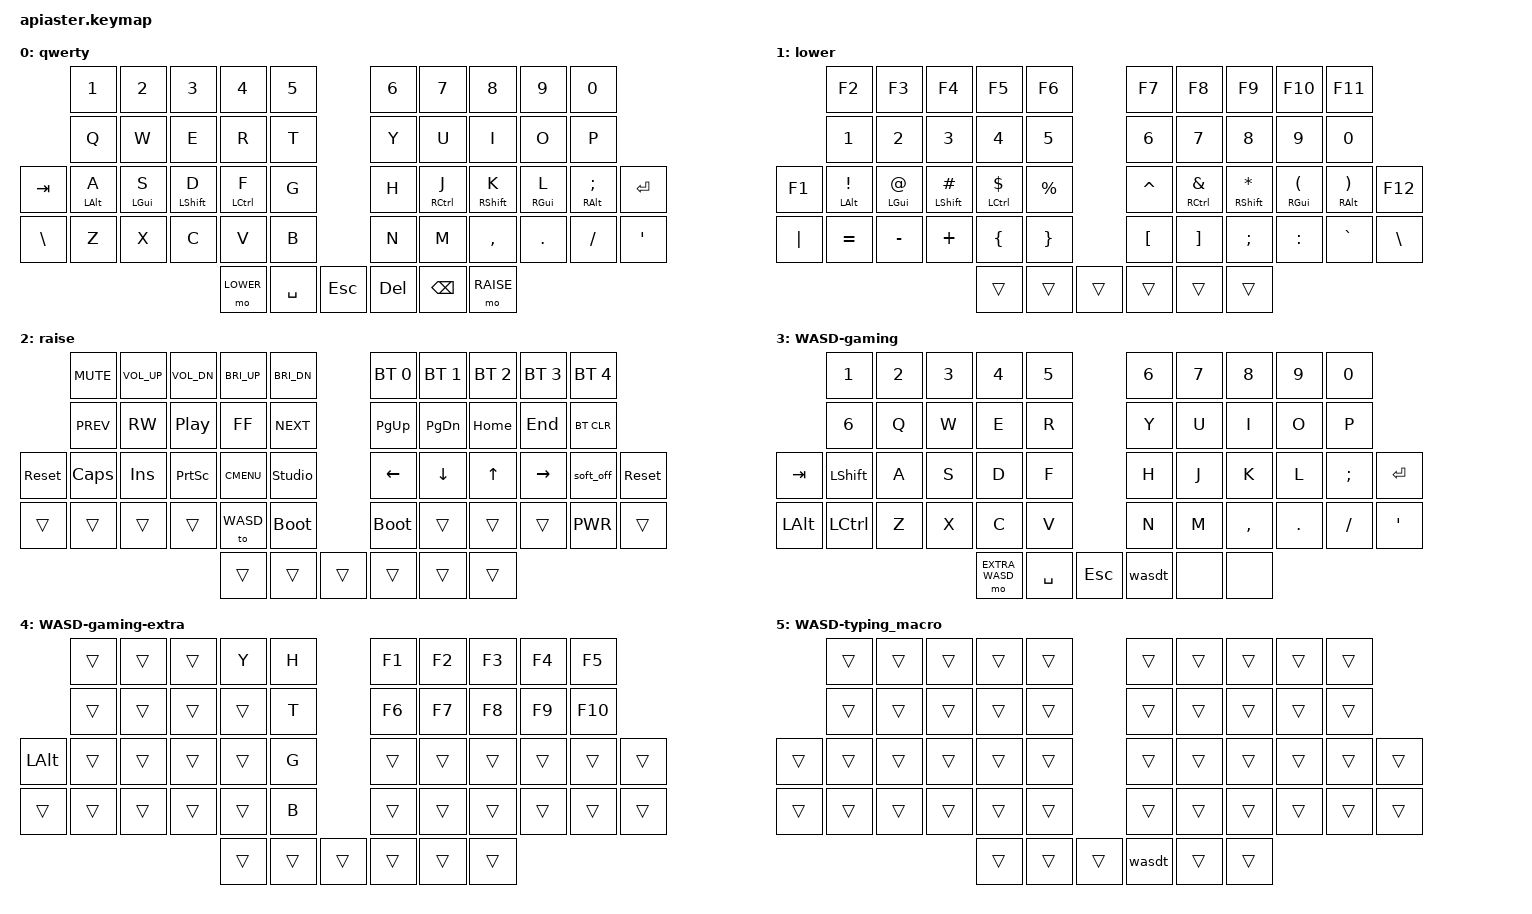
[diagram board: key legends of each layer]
#include <behaviors.dtsi>
#include <dt-bindings/zmk/keys.h>
#include <dt-bindings/zmk/bt.h>

#define BASE 0
#define LOWER 1
#define RAISE 2
#define WASD 3
#define EXTRA_WASD 4
#define WASD_TYPE 5

#define KEYS_L 0 1 2 3 4 10 11 12 13 14 20 21 22 23 24 25 32 33 34 35 36 37
#define KEYS_R 5 6 7 8 9 15 16 17 18 19 26 27 28 29 30 31 38 39 40 41 42 43
#define THUMBS_L 44 45 46
#define THUMBS_R 47 48 49

/ {
    macros {
        wasdt: wasd_type {
            compatible = "zmk,behavior-macro";
            #binding-cells = <0>;
            bindings
                = <&macro_tap &tog WASD &tog WASD_TYPE>;
        };
    };

    behaviors {
        hl: home_row_hold_tap_left {
            compatible = "zmk,behavior-hold-tap";
            #binding-cells = <2>;
            flavor = "balanced";
            tapping-term-ms = <280>;
            quick-tap-ms = <175>;                // repeat on tap-into-hold
            require-prior-idle-ms = <150>;
            bindings = <&kp>, <&kp>;
            hold-trigger-key-positions = <KEYS_R THUMBS_R>;
            hold-trigger-on-release;             // delay positional check until key-release
        };

        hr: home_row_hold_tap_right {
            compatible = "zmk,behavior-hold-tap";
            #binding-cells = <2>;
            flavor = "balanced";
            tapping-term-ms = <280>;
            quick-tap-ms = <175>;                // repeat on tap-into-hold
            require-prior-idle-ms = <150>;
            bindings = <&kp>, <&kp>;
            hold-trigger-key-positions = <KEYS_L THUMBS_L>;
            hold-trigger-on-release;             // delay positional check until key-release
        };

        td_rst: reset_tap_dance {
            compatible = "zmk,behavior-tap-dance";
            #binding-cells = <0>;
            tapping-term-ms = <200>;
            bindings = <&sys_reset>, <&bootloader>;
        };
    };

    keymap {
        compatible = "zmk,keymap";

        qwerty_layer {
            display-name = "qwerty";
// ------------------------------------------------------------------------------------------------------------
//         |   1   |   2   |    3    |   4    |   5   |              |  6  |   7    |    8    |   9   |   0   |
//         |   Q   |   W   |    E    |   R    |   T   |              |  Y  |   U    |    I    |   O   |   P   |
// |  TAB  | ALT/A | GUI/S | SHIFT/D | CTRL/F |   G   |              |  H  | CTRL/J | SHIFT/K | GUI/L | ALT/; | ENTER |
// |   \   |   Z   |   X   |    C    |   V    |   B   |              |  N  |   M    |    ,    |   .   |   /   |   '   |
//                                   | LOWER  | SPACE | ESC |  | DEL |BACK | RAISE  |
            bindings = <
          &kp N1     &kp N2     &kp N3      &kp N4      &kp N5                      &kp N6    &kp N7      &kp N8      &kp N9     &kp N0
          &kp Q      &kp W      &kp E       &kp R       &kp T                       &kp Y     &kp U       &kp I       &kp O      &kp P
&kp TAB   &hl LALT A &hl LGUI S &hl LSHFT D &hl LCTRL F &kp G                       &kp H     &hr RCTRL J &hr RSHFT K &hr RGUI L &hr RALT SEMI &kp ENTER
&kp BSLH &kp Z      &kp X      &kp C       &kp V       &kp B                       &kp N     &kp M       &kp COMMA   &kp DOT    &kp FSLH      &kp SQT
                                            &mo LOWER   &kp SPACE &kp ESC &kp DEL &kp BSPC &mo RAISE
            >;
        };

        lower_layer {
            display-name = "lower";
// ------------------------------------------------------------------------------------------------------------
// |       |  F1 |  F2 |  F3  |  F4  |  F5  |                   |  F6  |  F7   |  F8   |  F9  |  F10  |       |
// |       |  1  |  2  |  3   |  4   |  5   |                   |  6   |  7    |  8    |  9   |   0   |       |
// |   `   |  !  |  @  |  #   |  $   |  %   |                   |  ^   |  &    |  *    |  (   |   )   |  F11  |
// |   |   |  =  |  -  |  +   |  {   |  }   |                   |  [   |  ]    |  ;    |  :   |   \   |  F12  |
//               |     |      |      |      |        |  |       |      |       |       |      |
            bindings = <
         &kp F2        &kp F3      &kp F4         &kp F5         &kp F6                  &kp F7    &kp F8         &kp F9          &kp F10       &kp F11
         &kp N1        &kp N2      &kp N3         &kp N4         &kp N5                  &kp N6    &kp N7         &kp N8          &kp N9        &kp N0
&kp F1   &hl LALT EXCL &hl LGUI AT &hl LSHFT HASH &hl LCTRL DLLR &kp PRCNT               &kp CARET &hr RCTRL AMPS &hr RSHFT ASTRK &hr RGUI LPAR &hr RALT RPAR &kp F12
&kp PIPE &kp EQUAL     &kp MINUS   &kp PLUS       &kp LBRC       &kp RBRC                &kp LBKT  &kp RBKT       &kp SEMI        &kp COLON     &kp GRAVE     &kp BSLH
                                                   &trans         &trans    &trans &trans &trans    &trans
            >;
        };

        raise_layer {
            display-name = "raise";
// ------------------------------------------------------------------------------------------------------------
//         | MUTE | VOL-   |  VOL+   | BRI-        |  BRI+  |                |  BT 0 | BT 1 |  BT 2   | BT 3 | BT 4     |
//         | PREV | REWIND | PAUSE   | FASTFORWARD |  NEXT  |                | PGUP  | PGDN |  HOME   | END  | BT CLEAR |
// | reset | CAPS | INS    | PRNTSCR | MENU        | studio |                | <-    |   v  |   ^     |  ->  |  off     | reset |
// |       |      |        |         | WASD        |  boot  |                | boot  |      |         |      |  POWER   | reset |
//                                   |             |        |      |  |      |       |      |
            bindings = <
          &kp C_MUTE &kp C_VOL_DN &kp C_VOL_UP &kp C_BRI_DN &kp  C_BRI_UP                &bt BT_SEL 0 &bt BT_SEL 1 &bt BT_SEL 2 &bt BT_SEL 3 &bt BT_SEL 4
          &kp C_PREV &kp C_RW     &kp C_PP     &kp C_FF     &kp C_NEXT                   &kp PG_UP    &kp PG_DN     &kp HOME       &kp END      &bt BT_CLR
&sys_reset &kp CLCK   &kp INS      &kp PSCRN    &kp K_CMENU  &studio_unlock               &kp LEFT    &kp DOWN     &kp UP     &kp RIGHT    &soft_off   &sys_reset
&trans    &trans     &trans       &trans  &to WASD     &bootloader                  &bootloader  &trans       &trans       &trans       &kp C_PWR   &trans
                                               &trans       &trans         &trans &trans &trans       &trans
            >;
        };


        wasd_layer {
            display-name = "WASD-gaming";
            bindings = <
          &kp N1     &kp N2   &kp N3   &kp N4   &kp N5                             &kp N6    &kp N7      &kp N8      &kp N9     &kp N0
          &kp N6     &kp Q    &kp W    &kp E    &kp R                              &kp Y     &kp U       &kp I       &kp O      &kp P
&kp TAB   &kp LSHFT  &kp A    &kp S    &kp D    &kp F                              &kp H     &kp J       &kp K       &kp L      &kp SEMI &kp ENTER
&kp LALT     &kp LCTRL  &kp Z    &kp X    &kp C    &kp V                              &kp N     &kp M       &kp COMMA   &kp DOT    &kp FSLH      &kp SQT
                                       &mo EXTRA_WASD &kp SPACE &kp ESC   &wasdt  &none  &none
            >;
        };

        extra_wasd_layer {
            display-name = "WASD-gaming-extra";
// ---------------------------------------------------
//         |      |       |     |   Y  |  H   |                |  F1   |  F2   |  F3   |  F4  |   F5     |
//         |      |       |     |      |  T   |                |  F6   |  F7   |  F8   |  F9  |   F10    |
// |  ALT  |      |       |     |      |  G   |                | <-    |   v   |   ^   |  ->  |   off    | reset |
// |       |      |       |     |      |  B   |                | boot  |       |       |      |   POWER  | reset |
//                              |      |      |      |  |      |       |       |       |
            bindings = <
          &trans     &trans   &trans   &kp Y    &kp H                  &kp F1    &kp F2  &kp F3  &kp F4  &kp F5
          &trans     &trans   &trans   &trans   &kp T                  &kp F6    &kp F7  &kp F8  &kp F9  &kp F10
&kp LALT  &trans     &trans   &trans   &trans   &kp G                  &trans    &trans  &trans  &trans  &trans   &trans
&trans    &trans     &trans   &trans   &trans   &kp B                  &trans    &trans  &trans  &trans  &trans   &trans
                                       &trans   &trans  &trans  &trans &trans    &trans
            >;
        };
        wasd_type_layer {
            display-name = "WASD-typing_macro";
// ---------------------------------------------------
//         |      |       |     |   Y  |  H   |
//         |      |       |     |      |  T   |
// |  ALT  |      |       |     |      |  G   |
// |       |      |       |     |      |  B   |
//                              |      |      |        |
            bindings = <
          &trans     &trans   &trans   &trans   &trans                 &trans    &trans  &trans  &trans  &trans
          &trans     &trans   &trans   &trans   &trans                 &trans    &trans  &trans  &trans  &trans
&trans    &trans     &trans   &trans   &trans   &trans                 &trans    &trans  &trans  &trans  &trans   &trans
&trans    &trans     &trans   &trans   &trans   &trans                 &trans    &trans  &trans  &trans  &trans   &trans
                                       &trans   &trans  &trans  &wasdt &trans    &trans
            >;
        };

        extra1 {
            status = "reserved";
        };

        extra2 {
            status = "reserved";
        };

        extra3 {
            status = "reserved";
        };

        extra4 {
            status = "reserved";
        };

        extra5 {
            status = "reserved";
        };
    };
};
#include <behaviors.dtsi>
#include <dt-bindings/zmk/keys.h>
#include <dt-bindings/zmk/bt.h>

#define BASE 0
#define LOWER 1
#define RAISE 2
#define WASD 3
#define EXTRA_WASD 4
#define WASD_TYPE 5

#define KEYS_L 0 1 2 3 4 10 11 12 13 14 20 21 22 23 24 25 32 33 34 35 36 37
#define KEYS_R 5 6 7 8 9 15 16 17 18 19 26 27 28 29 30 31 38 39 40 41 42 43
#define THUMBS_L 44 45 46
#define THUMBS_R 47 48 49

/ {
    macros {
        wasdt: wasd_type {
            compatible = "zmk,behavior-macro";
            #binding-cells = <0>;
            bindings
                = <&macro_tap &tog WASD &tog WASD_TYPE>;
        };
    };

    behaviors {
        hl: home_row_hold_tap_left {
            compatible = "zmk,behavior-hold-tap";
            #binding-cells = <2>;
            flavor = "balanced";
            tapping-term-ms = <280>;
            quick-tap-ms = <175>;                // repeat on tap-into-hold
            require-prior-idle-ms = <150>;
            bindings = <&kp>, <&kp>;
            hold-trigger-key-positions = <KEYS_R THUMBS_R>;
            hold-trigger-on-release;             // delay positional check until key-release
        };

        hr: home_row_hold_tap_right {
            compatible = "zmk,behavior-hold-tap";
            #binding-cells = <2>;
            flavor = "balanced";
            tapping-term-ms = <280>;
            quick-tap-ms = <175>;                // repeat on tap-into-hold
            require-prior-idle-ms = <150>;
            bindings = <&kp>, <&kp>;
            hold-trigger-key-positions = <KEYS_L THUMBS_L>;
            hold-trigger-on-release;             // delay positional check until key-release
        };

        td_rst: reset_tap_dance {
            compatible = "zmk,behavior-tap-dance";
            #binding-cells = <0>;
            tapping-term-ms = <200>;
            bindings = <&sys_reset>, <&bootloader>;
        };
    };

    keymap {
        compatible = "zmk,keymap";

        qwerty_layer {
            display-name = "qwerty";
// ------------------------------------------------------------------------------------------------------------
//         |   1   |   2   |    3    |   4    |   5   |              |  6  |   7    |    8    |   9   |   0   |
//         |   Q   |   W   |    E    |   R    |   T   |              |  Y  |   U    |    I    |   O   |   P   |
// |  TAB  | ALT/A | GUI/S | SHIFT/D | CTRL/F |   G   |              |  H  | CTRL/J | SHIFT/K | GUI/L | ALT/; | ENTER |
// |   \   |   Z   |   X   |    C    |   V    |   B   |              |  N  |   M    |    ,    |   .   |   /   |   '   |
//                                   | LOWER  | SPACE | ESC |  | DEL |BACK | RAISE  |
            bindings = <
          &kp N1     &kp N2     &kp N3      &kp N4      &kp N5                      &kp N6    &kp N7      &kp N8      &kp N9     &kp N0
          &kp Q      &kp W      &kp E       &kp R       &kp T                       &kp Y     &kp U       &kp I       &kp O      &kp P
&kp TAB   &hl LALT A &hl LGUI S &hl LSHFT D &hl LCTRL F &kp G                       &kp H     &hr RCTRL J &hr RSHFT K &hr RGUI L &hr RALT SEMI &kp ENTER
&kp BSLH &kp Z      &kp X      &kp C       &kp V       &kp B                       &kp N     &kp M       &kp COMMA   &kp DOT    &kp FSLH      &kp SQT
                                            &mo LOWER   &kp SPACE &kp ESC &kp DEL &kp BSPC &mo RAISE
            >;
        };

        lower_layer {
            display-name = "lower";
// ------------------------------------------------------------------------------------------------------------
// |       |  F1 |  F2 |  F3  |  F4  |  F5  |                   |  F6  |  F7   |  F8   |  F9  |  F10  |       |
// |       |  1  |  2  |  3   |  4   |  5   |                   |  6   |  7    |  8    |  9   |   0   |       |
// |   `   |  !  |  @  |  #   |  $   |  %   |                   |  ^   |  &    |  *    |  (   |   )   |  F11  |
// |   |   |  =  |  -  |  +   |  {   |  }   |                   |  [   |  ]    |  ;    |  :   |   \   |  F12  |
//               |     |      |      |      |        |  |       |      |       |       |      |
            bindings = <
         &kp F2        &kp F3      &kp F4         &kp F5         &kp F6                  &kp F7    &kp F8         &kp F9          &kp F10       &kp F11
         &kp N1        &kp N2      &kp N3         &kp N4         &kp N5                  &kp N6    &kp N7         &kp N8          &kp N9        &kp N0
&kp F1   &hl LALT EXCL &hl LGUI AT &hl LSHFT HASH &hl LCTRL DLLR &kp PRCNT               &kp CARET &hr RCTRL AMPS &hr RSHFT ASTRK &hr RGUI LPAR &hr RALT RPAR &kp F12
&kp PIPE &kp EQUAL     &kp MINUS   &kp PLUS       &kp LBRC       &kp RBRC                &kp LBKT  &kp RBKT       &kp SEMI        &kp COLON     &kp GRAVE     &kp BSLH
                                                   &trans         &trans    &trans &trans &trans    &trans
            >;
        };

        raise_layer {
            display-name = "raise";
// ------------------------------------------------------------------------------------------------------------
//         | MUTE | VOL+   |  VOL-   | BRI+        |  BRI-  |                |  BT 0 | BT 1 |  BT 2   | BT 3 | BT 4     |
//         | PREV | REWIND | PAUSE   | FASTFORWARD |  NEXT  |                | PGUP  | PGDN |  HOME   | END  | BT CLEAR |
// | reset | CAPS | INS    | PRNTSCR | MENU        | studio |                | <-    |   v  |   ^     |  ->  |  off     | reset |
// |       |      |        |         | WASD        |  boot  |                | boot  |      |         |      |  POWER   | reset |
//                                   |             |        |      |  |      |       |      |
            bindings = <
          &kp C_MUTE &kp C_VOL_UP &kp C_VOL_DN &kp C_BRI_UP &kp  C_BRI_DN                &bt BT_SEL 0 &bt BT_SEL 1 &bt BT_SEL 2 &bt BT_SEL 3 &bt BT_SEL 4
          &kp C_PREV &kp C_RW     &kp C_PP     &kp C_FF     &kp C_NEXT                   &kp PG_UP    &kp PG_DN     &kp HOME       &kp END      &bt BT_CLR
&sys_reset &kp CLCK   &kp INS      &kp PSCRN    &kp K_CMENU  &studio_unlock               &kp LEFT    &kp DOWN     &kp UP     &kp RIGHT    &soft_off   &sys_reset
&trans    &trans     &trans       &trans  &to WASD     &bootloader                  &bootloader  &trans       &trans       &trans       &kp C_PWR   &trans
                                               &trans       &trans         &trans &trans &trans       &trans
            >;
        };


        wasd_layer {
            display-name = "WASD-gaming";
            bindings = <
          &kp N1     &kp N2   &kp N3   &kp N4   &kp N5                             &kp N6    &kp N7      &kp N8      &kp N9     &kp N0
          &kp N6     &kp Q    &kp W    &kp E    &kp R                              &kp Y     &kp U       &kp I       &kp O      &kp P
&kp TAB   &kp LSHFT  &kp A    &kp S    &kp D    &kp F                              &kp H     &kp J       &kp K       &kp L      &kp SEMI &kp ENTER
&kp LALT     &kp LCTRL  &kp Z    &kp X    &kp C    &kp V                              &kp N     &kp M       &kp COMMA   &kp DOT    &kp FSLH      &kp SQT
                                       &mo EXTRA_WASD &kp SPACE &kp ESC   &wasdt  &none  &none
            >;
        };

        extra_wasd_layer {
            display-name = "WASD-gaming-extra";
// ---------------------------------------------------
//         |      |       |     |   Y  |  H   |                |  F1   |  F2   |  F3   |  F4  |   F5     |
//         |      |       |     |      |  T   |                |  F6   |  F7   |  F8   |  F9  |   F10    |
// |  ALT  |      |       |     |      |  G   |                | <-    |   v   |   ^   |  ->  |   off    | reset |
// |       |      |       |     |      |  B   |                | boot  |       |       |      |   POWER  | reset |
//                              |      |      |      |  |      |       |       |       |
            bindings = <
          &trans     &trans   &trans   &kp Y    &kp H                  &kp F1    &kp F2  &kp F3  &kp F4  &kp F5
          &trans     &trans   &trans   &trans   &kp T                  &kp F6    &kp F7  &kp F8  &kp F9  &kp F10
&kp LALT  &trans     &trans   &trans   &trans   &kp G                  &trans    &trans  &trans  &trans  &trans   &trans
&trans    &trans     &trans   &trans   &trans   &kp B                  &trans    &trans  &trans  &trans  &trans   &trans
                                       &trans   &trans  &trans  &trans &trans    &trans
            >;
        };
        wasd_type_layer {
            display-name = "WASD-typing_macro";
// ---------------------------------------------------
//         |      |       |     |   Y  |  H   |
//         |      |       |     |      |  T   |
// |  ALT  |      |       |     |      |  G   |
// |       |      |       |     |      |  B   |
//                              |      |      |        |
            bindings = <
          &trans     &trans   &trans   &trans   &trans                 &trans    &trans  &trans  &trans  &trans
          &trans     &trans   &trans   &trans   &trans                 &trans    &trans  &trans  &trans  &trans
&trans    &trans     &trans   &trans   &trans   &trans                 &trans    &trans  &trans  &trans  &trans   &trans
&trans    &trans     &trans   &trans   &trans   &trans                 &trans    &trans  &trans  &trans  &trans   &trans
                                       &trans   &trans  &trans  &wasdt &trans    &trans
            >;
        };

        extra1 {
            status = "reserved";
        };

        extra2 {
            status = "reserved";
        };

        extra3 {
            status = "reserved";
        };

        extra4 {
            status = "reserved";
        };

        extra5 {
            status = "reserved";
        };
    };
};
